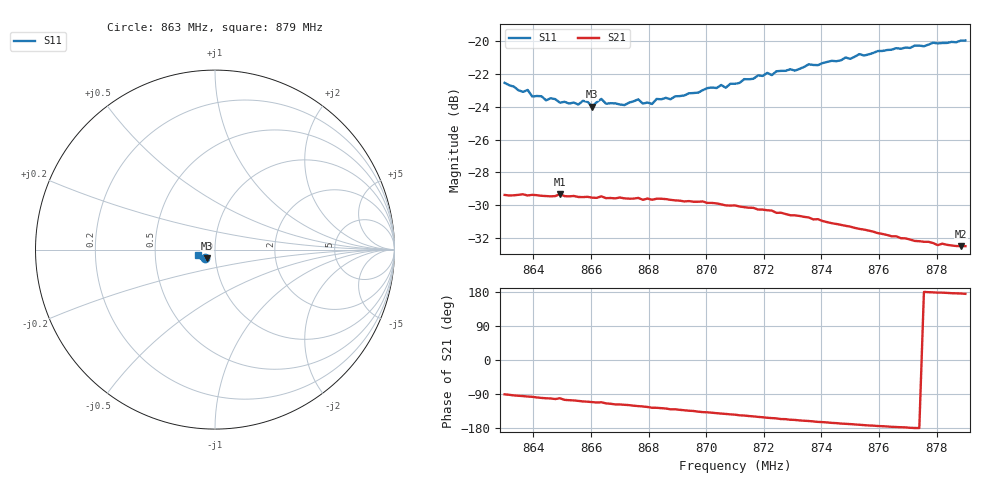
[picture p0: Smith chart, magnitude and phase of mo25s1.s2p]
# HZ S RI R 50
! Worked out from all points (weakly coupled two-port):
!   101 points, 863 MHz to 879 MHz, reference 50 ohm
!   highest |S21| = -29.31 dB at 864.92 MHz (marker M1); lowest = -32.5 dB at 878.84 MHz (marker M2)
!   lowest |S11| = -24.0 dB at 866.04 MHz (marker M3), VSWR 1.13, Z = 45.7 - j4.27 ohm
!   |S11| at or under -10 dB: start of sweep to end of sweep
!   S12 and S22 are empty: the file has one direction only
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8.63e8  -0.0581 -0.0467  -0.000378 -0.034  0 0  0 0
8.6364e8  -0.0527 -0.046  -0.00313 -0.034  0 0  0 0
8.638e8  -0.054 -0.0459  -0.00374 -0.0337  0 0  0 0
8.6396e8  -0.0512 -0.0444  -0.00428 -0.0338  0 0  0 0
8.6492e8  -0.0452 -0.0465  -0.0065 -0.0336  0 0  0 0
8.6556e8  -0.0453 -0.0452  -0.0103 -0.0319  0 0  0 0
8.6572e8  -0.0459 -0.047  -0.0111 -0.0316  0 0  0 0
8.6604e8  -0.0427 -0.0465  -0.012 -0.0311  0 0  0 0
8.6636e8  -0.0506 -0.0433  -0.0124 -0.0313  0 0  0 0
8.6652e8  -0.044 -0.047  -0.0138 -0.0303  0 0  0 0
8.6716e8  -0.0426 -0.0474  -0.0157 -0.0293  0 0  0 0
8.6764e8  -0.0437 -0.05  -0.0175 -0.0284  0 0  0 0
8.678e8  -0.0424 -0.0485  -0.0177 -0.0277  0 0  0 0
8.6812e8  -0.0422 -0.0484  -0.0193 -0.0266  0 0  0 0
8.6844e8  -0.0431 -0.0505  -0.02 -0.0264  0 0  0 0
8.71e8  -0.0487 -0.0557  -0.0256 -0.0185  0 0  0 0
8.7212e8  -0.0542 -0.0587  -0.0271 -0.0141  0 0  0 0
8.7228e8  -0.0545 -0.0567  -0.0272 -0.0137  0 0  0 0
8.7372e8  -0.0619 -0.0574  -0.0273 -0.00882  0 0  0 0
8.7644e8  -0.0799 -0.0493  -0.0254 -0.00163  0 0  0 0
8.7884e8  -0.094 -0.0343  -0.0237 0.00188  0 0  0 0
8.79e8  -0.095 -0.032  -0.0237 0.00225  0 0  0 0
